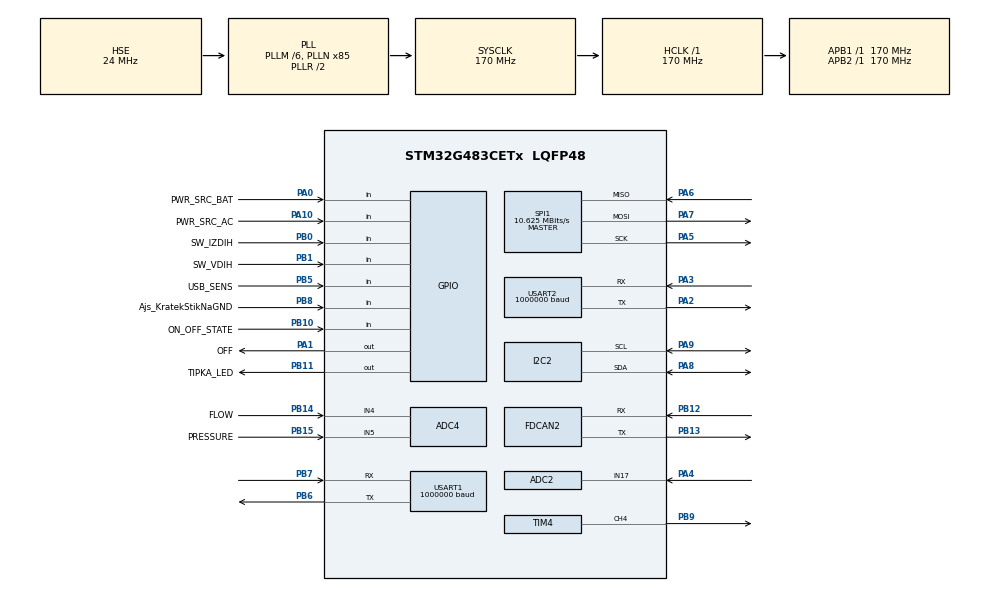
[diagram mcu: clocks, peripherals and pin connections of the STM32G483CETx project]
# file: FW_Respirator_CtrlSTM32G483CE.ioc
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ADC2.Channel-0\#ChannelRegularConversion=ADC_CHANNEL_17
ADC2.ExternalTrigConv=ADC_EXTERNALTRIG_T3_TRGO
ADC2.NbrOfConversion=1
ADC2.NbrOfConversionFlag=1
ADC2.OffsetNumber-0\#ChannelRegularConversion=ADC_OFFSET_NONE
ADC2.Overrun=ADC_OVR_DATA_OVERWRITTEN
ADC2.OversamplingMode=ENABLE
ADC2.Rank-0\#ChannelRegularConversion=1
ADC2.Ratio=ADC_OVERSAMPLING_RATIO_32
ADC2.RightBitShift=ADC_RIGHTBITSHIFT_1
ADC2.SamplingTime-0\#ChannelRegularConversion=ADC_SAMPLETIME_2CYCLES_5
ADC4.Channel-0\#ChannelRegularConversion=ADC_CHANNEL_4
ADC4.Channel-1\#ChannelRegularConversion=ADC_CHANNEL_5
ADC4.ClockPrescaler=ADC_CLOCK_SYNC_PCLK_DIV4
ADC4.ExternalTrigConv=ADC_EXTERNALTRIG_T3_TRGO
ADC4.NbrOfConversion=2
ADC4.NbrOfConversionFlag=1
ADC4.OffsetNumber-0\#ChannelRegularConversion=ADC_OFFSET_NONE
ADC4.OffsetNumber-1\#ChannelRegularConversion=ADC_OFFSET_NONE
ADC4.Overrun=ADC_OVR_DATA_OVERWRITTEN
ADC4.OversamplingMode=ENABLE
ADC4.Rank-0\#ChannelRegularConversion=1
ADC4.Rank-1\#ChannelRegularConversion=2
ADC4.Ratio=ADC_OVERSAMPLING_RATIO_32
ADC4.RightBitShift=ADC_RIGHTBITSHIFT_1
ADC4.SamplingTime-0\#ChannelRegularConversion=ADC_SAMPLETIME_2CYCLES_5
ADC4.SamplingTime-1\#ChannelRegularConversion=ADC_SAMPLETIME_2CYCLES_5
FDCAN2.DataPrescaler=17
FDCAN2.DataTimeSeg1=10
FDCAN2.DataTimeSeg2=9
FDCAN2.FrameFormat=FDCAN_FRAME_CLASSIC
FDCAN2.NominalPrescaler=17
FDCAN2.NominalTimeSeg1=10
FDCAN2.NominalTimeSeg2=9
FDCAN2.StdFiltersNbr=1
I2C2.Timing=0x30A0A7FB
Mcu.Family=STM32G4
Mcu.Name=STM32G483CETx
Mcu.Package=LQFP48
NVIC.ADC1_2_IRQn=true\:0\:0\:false\:false\:true\:true\:true
NVIC.ADC4_IRQn=true\:0\:0\:false\:false\:true\:true\:true
NVIC.FDCAN2_IT0_IRQn=true\:0\:0\:false\:false\:true\:true\:true
NVIC.PriorityGroup=NVIC_PRIORITYGROUP_4
NVIC.USART1_IRQn=true\:0\:0\:false\:false\:true\:true\:false
NVIC.USART2_IRQn=true\:0\:0\:false\:false\:true\:true\:false
PA0.GPIO_Label=PWR_SRC_BAT
PA0.Signal=GPIO_Input
PA1.GPIO_Label=OFF
PA1.GPIO_ModeDefaultOutputPP=GPIO_MODE_OUTPUT_OD
PA1.Signal=GPIO_Output
PA10.GPIO_Label=PWR_SRC_AC
PA10.Signal=GPIO_Input
PA13.Mode=JTAG_5_pins
PA13.Signal=SYS_JTMS-SWDIO
PA14.Mode=JTAG_5_pins
PA14.Signal=SYS_JTCK-SWCLK
PA15.Mode=JTAG_5_pins
PA15.Signal=SYS_JTDI
PA2.Mode=Asynchronous
PA2.Signal=USART2_TX
PA3.Mode=Asynchronous
PA3.Signal=USART2_RX
PA4.Mode=IN17-Single-Ended
PA4.Signal=ADC2_IN17
PA5.Mode=Full_Duplex_Master
PA5.Signal=SPI1_SCK
PA6.Mode=Full_Duplex_Master
PA6.Signal=SPI1_MISO
PA7.Mode=Full_Duplex_Master
PA7.Signal=SPI1_MOSI
PA8.GPIO_Pu=GPIO_PULLUP
PA8.Mode=I2C
PA8.Signal=I2C2_SDA
PA9.GPIO_Pu=GPIO_PULLUP
PA9.Mode=I2C
PA9.Signal=I2C2_SCL
PB0.GPIO_Label=SW_IZDIH
PB0.GPIO_PuPd=GPIO_PULLUP
PB0.Signal=GPIO_Input
PB1.GPIO_Label=SW_VDIH
PB1.GPIO_PuPd=GPIO_PULLUP
PB1.Signal=GPIO_Input
PB10.GPIO_Label=ON_OFF_STATE
PB10.Signal=GPIO_Input
PB11.GPIO_Label=TIPKA_LED
PB11.PinState=GPIO_PIN_SET
PB11.Signal=GPIO_Output
PB12.Mode=FDCAN_Activate
PB12.Signal=FDCAN2_RX
PB13.Mode=FDCAN_Activate
PB13.Signal=FDCAN2_TX
PB14.GPIO_Label=FLOW
PB14.Mode=IN4-Single-Ended
PB14.Signal=ADC4_IN4
PB15.GPIO_Label=PRESSURE
PB15.Mode=IN5-Single-Ended
PB15.Signal=ADC4_IN5
PB3.Mode=JTAG_5_pins
PB3.Signal=SYS_JTDO-SWO
PB4.Mode=JTAG_5_pins
PB4.Signal=SYS_JTRST
PB5.GPIO_Label=USB_SENS
PB5.Signal=GPIO_Input
PB6.Mode=Asynchronous
PB6.Signal=USART1_TX
PB7.Mode=Asynchronous
PB7.Signal=USART1_RX
PB8-BOOT0.GPIO_Label=Ajs_KratekStikNaGND
PB8-BOOT0.Signal=GPIO_Input
PB9.Signal=S_TIM4_CH4
PF0-OSC_IN.Mode=HSE-External-Oscillator
PF0-OSC_IN.Signal=RCC_OSC_IN
PF1-OSC_OUT.Mode=HSE-External-Oscillator
PF1-OSC_OUT.Signal=RCC_OSC_OUT
ProjectManager.HeapSize=0x200
ProjectManager.StackSize=0x400
ProjectManager.TargetToolchain=STM32CubeIDE
RCC.ADC12Freq_Value=170000000
RCC.ADC345Freq_Value=170000000
RCC.AHBFreq_Value=170000000
RCC.APB1Freq_Value=170000000
RCC.APB1TimFreq_Value=170000000
RCC.APB2Freq_Value=170000000
RCC.APB2TimFreq_Value=170000000
RCC.CK48CLockSelection=RCC_USBCLKSOURCE_HSI48
RCC.CortexFreq_Value=170000000
RCC.EXTERNAL_CLOCK_VALUE=12288000
RCC.HCLKFreq_Value=170000000
RCC.HSE_VALUE=24000000
RCC.HSI48_VALUE=48000000
RCC.HSI_VALUE=16000000
RCC.LSE_VALUE=32768
RCC.PLLM=RCC_PLLM_DIV6
RCC.PLLN=85
RCC.PLLSourceVirtual=RCC_PLLSOURCE_HSE
RCC.SYSCLKFreq_VALUE=170000000
RCC.SYSCLKSource=RCC_SYSCLKSOURCE_PLLCLK
RCC.USBFreq_Value=48000000
RCC.VCOOutputFreq_Value=340000000
SH.S_TIM4_CH4.0=TIM4_CH4,PWM Generation4 CH4
SPI1.BaudRatePrescaler=SPI_BAUDRATEPRESCALER_16
SPI1.CalculateBaudRate=10.625 MBits/s
SPI1.Direction=SPI_DIRECTION_2LINES
SPI1.Mode=SPI_MODE_MASTER
SPI1.VirtualType=VM_MASTER
TIM3.PeriodNoDither=9999
TIM3.Prescaler=169
TIM3.TIM_MasterOutputTrigger=TIM_TRGO_UPDATE
TIM4.Channel-PWM\ Generation4\ CH4=TIM_CHANNEL_4
TIM4.PeriodNoDither=999
TIM4.Prescaler=169
TIM4.PulseNoDither_4=499
USART1.BaudRate=1000000
USART1.VirtualMode-Asynchronous=VM_ASYNC
USART2.BaudRate=1000000
USART2.DMADisableonRxErrorParam=ADVFEATURE_DMA_DISABLEONRXERROR
USART2.OverrunDisableParam=ADVFEATURE_OVERRUN_DISABLE
USART2.VirtualMode-Asynchronous=VM_ASYNC
VP_SYS_VS_DBSignals.Mode=DisableDeadBatterySignals
VP_TIM3_VS_ClockSourceINT.Mode=Internal
VP_TIM4_VS_ClockSourceINT.Mode=Internal
board=custom

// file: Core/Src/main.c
/* USER CODE BEGIN Header */
/**
  ******************************************************************************
  * @file           : main.c
  * @brief          : Main program body
  ******************************************************************************
  * @attention
  *
  * <h2><center>&copy; Copyright (c) 2021 STMicroelectronics.
  * All rights reserved.</center></h2>
  *
  * This software component is licensed by ST under BSD 3-Clause license,
  * the "License"; You may not use this file except in compliance with the
  * License. You may obtain a copy of the License at:
  *                        opensource.org/licenses/BSD-3-Clause
  *
  ******************************************************************************
  */
/* USER CODE END Header */
#include "main.h"
#include "adc.h"
#include "fdcan.h"
#include "i2c.h"
#include "spi.h"
#include "tim.h"
#include "usart.h"
#include "gpio.h"

/* USER CODE BEGIN Includes */
#include "PID.h"
#include "CommonDefinitions.h"
#include "PowerStatus.h"
#include "motor.h"
#include "Measure.h"
#include "ActuatorControl.h"
#include "CommProtocol.h"
#include "modeSTOP.h"
#include "modeCMV.h"
//#include "modeCMVmpc.h"
#include "modePCV.h"
#include "modePS.h"
#include "modeHWtest.h"
#include <math.h>
/* USER CODE END Includes */

void SystemClock_Config(void);

/* USER CODE BEGIN 0 */
//Global only for debugging purposes move back to main when done
RespSettings_t  Settings;
MeasuredParams_t Measured;
CtrlParams_t Control;

int indikator = 0; //uporabljeno za preverjanje delovanja

fpidData_t PIDdata;
//mpcData_t MPCdata;
ControlData_t ControlData =
{
	&PIDdata,
	//&MPCdata
};

int _write(int file, char *ptr, int len)
{
  HAL_UART_Transmit_IT(&huart1, (uint8_t*)ptr, len);
  return len;
}

void dummy()
{

}
/* USER CODE END 0 */

int main(void)
{
  /* USER CODE BEGIN 1 */
#define MSG_SETTINGS_REPLY_LENGTH 200

	  char msg[MSG_SETTINGS_REPLY_LENGTH];
	  int length;
	  char com_data;
	  uint32_t mark2=0;
	  uint32_t mark1ms=0;
	  uint8_t newSettingsReceived;
	  ErrCodes_t err;
	  ProcMsgState_t PMSuart2 = {0};
	  ProcMsgState_t PMSuart1 = {0};

	  /*
	  RespSettings_t	Settings;
	  MeasuredParams_t Measured;
	  CtrlParams_t Control;
	  fpidData_t PIDdata;	//Same PID params if regulating P or V ? Probably not.
						  //Maybe make PID params local to ActuatorControl?
*/
	  //setvbuf(stdout, NULL, _IONBF, 0);
	  ErrQueue_Init(&DefaultErrorQueue);
	  memset(&Settings,0,sizeof(RespSettings_t));
	  memset(&Measured,0,sizeof(MeasuredParams_t));
	  memset(&Control,0,sizeof(CtrlParams_t));
	  memset(&PIDdata,0,sizeof(fpidData_t));
	  //memset(&MPCdata,0,sizeof(mpcData_t));

	  //V konÄ?ni verziji se to prebere iz eeproma,
	  //da takoj nadaljujemo od koder smo konÄ?ali,
	  //Ä?e se sluÄ?ajno pobiramo iz nenamernega reseta
	  Settings.current_mode=MODE_STOP;
	  Settings.new_mode=MODE_DEFAULT;
    Settings.trigger_pressure=SETTINGS_DEFAULT_INSP_TRIGGER;
    Settings.target_Pramp_time=SETTINGS_DEFAULT_RAMPUP_TIME_MS;
	  Settings.target_inspiria_time=SETTINGS_DEFAULT_INHALE_TIME_MS;
    Settings.target_expiria_time=SETTINGS_DEFAULT_EXHALE_TIME_MS;
    Settings.limit_apnea_time_max=SETTINGS_DEFAULT_APNEA_LIMIT_TIME_MS;
	  Settings.target_tidal_volume=SETTINGS_DEFAULT_TARGET_VOLUME_ML;
	  Settings.PEEP = SETTINGS_DEFAULT_PEEP;
	  Settings.limit_PeakInspPressure = SETTINGS_DEFAULT_MAX_PRESSURE_MBAR;
    Settings.target_pressure = SETTINGS_DEFAULT_TARGET_PRESSURE_MBAR;
    Settings.target_motor_speed = SETTINGS_DEFAULT_TARGET_MOTOR_SPEED;
    Settings.limit_tidal_volume_min = SETTINGS_DEFAULT_LIMIT_TIDAL_VOLUME_MIN;
    Settings.limit_tidal_volume_max = SETTINGS_DEFAULT_LIMIT_TIDAL_VOLUME_MAX;
    Settings.limit_minute_volume_min = SETTINGS_DEFAULT_MINUTE_VOLUME_MIN;
    Settings.limit_minute_volume_max = SETTINGS_DEFAULT_MINUTE_VOLUME_MAX;
    Settings.limit_breath_rate_min = SETTINGS_DEFAULT_BREATH_RATE_MIN;
    Settings.limit_breath_rate_max = SETTINGS_DEFAULT_BREATH_RATE_MAX;
    Settings.limit_InspPressure_min = SETTINGS_DEFAULT_MIN_INSP_PRESSURE;
    Settings.ETS = SETTINGS_DEFAULT_ETS;

    Settings.PID_Pressure.P_Factor = SETTINGS_DEFAULT_PRESSURE_PID_P;
    Settings.PID_Pressure.I_Factor = SETTINGS_DEFAULT_PRESSURE_PID_I;
    Settings.PID_Pressure.D_Factor = SETTINGS_DEFAULT_PRESSURE_PID_D;
    Settings.PID_Pressure.maxError = SETTINGS_DEFAULT_PRESSURE_PID_MAXERR;
    Settings.PID_Pressure.maxSumError = SETTINGS_DEFAULT_PRESSURE_PID_MAXSUMERR;
    Settings.PID_Pressure.maxOut = SETTINGS_DEFAULT_PRESSURE_PID_MAXOUT;
    Settings.PID_Pressure.minOut = SETTINGS_DEFAULT_PRESSURE_PID_MINOUT;

    Settings.PID_Flow.P_Factor = SETTINGS_DEFAULT_FLOW_PID_P;
    Settings.PID_Flow.I_Factor = SETTINGS_DEFAULT_FLOW_PID_I;
    Settings.PID_Flow.D_Factor = SETTINGS_DEFAULT_FLOW_PID_D;
    Settings.PID_Flow.maxError = SETTINGS_DEFAULT_FLOW_PID_MAXERR;
    Settings.PID_Flow.maxSumError = SETTINGS_DEFAULT_FLOW_PID_MAXSUMERR;
    Settings.PID_Flow.maxOut = SETTINGS_DEFAULT_FLOW_PID_MAXOUT;
    Settings.PID_Flow.minOut = SETTINGS_DEFAULT_FLOW_PID_MINOUT;

    Settings.PID_Volume.P_Factor = SETTINGS_DEFAULT_VOLUME_PID_P;
    Settings.PID_Volume.I_Factor = SETTINGS_DEFAULT_VOLUME_PID_I;
    Settings.PID_Volume.D_Factor = SETTINGS_DEFAULT_VOLUME_PID_D;
    Settings.PID_Volume.maxError = SETTINGS_DEFAULT_VOLUME_PID_MAXERR;
    Settings.PID_Volume.maxSumError = SETTINGS_DEFAULT_VOLUME_PID_MAXSUMERR;
    Settings.PID_Volume.maxOut = SETTINGS_DEFAULT_VOLUME_PID_MAXOUT;
    Settings.PID_Volume.minOut = SETTINGS_DEFAULT_VOLUME_PID_MINOUT;

    Settings.MPC_Volume.modelT=SETTINGS_DEFAULT_VOLUME_MPC_modelT;
	Settings.MPC_Volume.Amat=SETTINGS_DEFAULT_VOLUME_MPC_Amat;
	Settings.MPC_Volume.Bmat=SETTINGS_DEFAULT_VOLUME_MPC_Bmat;
	Settings.MPC_Volume.Cmat=SETTINGS_DEFAULT_VOLUME_MPC_Cmat;
	Settings.MPC_Volume.modelTm=SETTINGS_DEFAULT_VOLUME_MPC_modelTm;
	Settings.MPC_Volume.Hmpc=SETTINGS_DEFAULT_VOLUME_MPC_Hmpc;
	Settings.MPC_Volume.maxError=SETTINGS_DEFAULT_VOLUME_MPC_maxError;

	  //TODO: read current state of the machine
	  //Is it possible the get the exact state?
	  //Direction (Inspiration/Expiration), Position
	  //duration of the break (maybe ms resolution RTC)?
	  //maybe also external RAM with backup battery? Or FRAM?

  /* USER CODE END 1 */

  /* MCU Configuration--------------------------------------------------------*/

  /* Reset of all peripherals, Initializes the Flash interface and the Systick. */
  HAL_Init();

  /* Configure the system clock */
  SystemClock_Config();

  /* Initialize all configured peripherals */
  MX_GPIO_Init();
  MX_ADC2_Init();
  MX_ADC4_Init();
  MX_FDCAN2_Init();
  MX_I2C2_Init();
  MX_SPI1_Init();
  MX_TIM3_Init();
  MX_TIM4_Init();
  MX_USART1_UART_Init();
  MX_USART2_UART_Init();
  /* USER CODE BEGIN 2 */
    HAL_ADCEx_Calibration_Start(&hadc2, ADC_SINGLE_ENDED);
    HAL_ADCEx_Calibration_Start(&hadc4, ADC_SINGLE_ENDED);
    Ringbuf2_Init();
    Ringbuf1_Init();
    HAL_TIM_Base_Start(&htim3);
    HAL_TIM_Base_Start(&htim4);

    HAL_ADC_Start_IT(&hadc2);
    HAL_ADC_Start_IT(&hadc4);
    MeasureInit();
    BUZZ_Off();
    CAN_XCP_CLEAR();
    HAL_Delay(500);
    motor_Init();
#warning "izgleda, kot da so postavljene zastavice za prejeto sporocilo, ker takoj po aktivaciji IT skoci v prekinitev"

#ifdef TESTING //zakomentiraj v CommonDefinitions.h
    float test_trq = 0.0;
    //trq = 0.1;
    //uint8_t fdcanTxData[8]={0,0,0,0,0,0,0,0};
    //fdcanTxData[0] = 0xFF;
    //fdcanTxData[3] = 0x42;
    while(1)
    {
    	//write_trq();
    	//HAL_FDCAN_AddMessageToTxFifoQ(&hfdcan2, &hfdcan2_TxHeader, fdcanTxData);
    	//uint32_t time1 = HAL_GetTick();
    	//motor_SetPower(0);
    	//CAN_XCP_write(RequestedTorque, 0 , 4 , (char *)&test_trq );
    	/*uint32_t time2 = HAL_GetTick();
    	CAN_XCP_write(RequestedTorque, 0 , 4 , (char *)&test_trq );
    	uint32_t time3 = HAL_GetTick();
    	CAN_XCP_write(RequestedTorque, 0 , 4 , (char *)&test_trq );
    	uint32_t time4 = HAL_GetTick();
    	CAN_XCP_write(RequestedTorque, 0 , 4 , (char *)&test_trq );
    	uint32_t time5 = HAL_GetTick();
    	CAN_XCP_write(RequestedTorque, 0 , 4 , (char *)&test_trq );
    	uint32_t time6 = HAL_GetTick();
    	//HAL_Delay(1000);*/
    }
#endif

  /* USER CODE END 2 */

  /* Infinite loop */
  /* USER CODE BEGIN WHILE */

    while(1)
    {
      //Check power status every ms, regardless of everything else
      //At least some error checking should also be done here
      if (HAL_GetTick() != mark1ms)
      {
        mark1ms=HAL_GetTick();
        DetectPowerStatus();
      }

#warning "takt programa je nastavljen na 10 ms"

      if (ADC_scan_complete())
      {
        //LED1_On();
        // branje ADC:
        MeasureFlow(&Measured);
        MeasurePressure(&Measured);
        MeasureVolume(&Measured);

        TurnOff();

        // preverja delovanje s priziganjem pina za led na tipki, zakomentiranj kasneje
/*
        uint8_t fdcanTxData[8]={0,0,0,0,0,0,0,0};
        fdcanTxData[0] = 0xFF;
        fdcanTxData[3] = 0x42;

        indikator++;

        if(indikator == 50)
        {
        	HAL_GPIO_WritePin(TIPKA_LED_GPIO_Port, TIPKA_LED_Pin, GPIO_PIN_SET);
        	HAL_FDCAN_AddMessageToTxFifoQ(&hfdcan2, &hfdcan2_TxHeader, fdcanTxData);
        }
        else if(indikator==100)
        {
        	HAL_GPIO_WritePin(TIPKA_LED_GPIO_Port, TIPKA_LED_Pin, GPIO_PIN_RESET);
        	indikator=0;
        }

*/

        //TODO: mode state machines must return HW independent control values
        switch (Settings.current_mode)
        {
          case MODE_STOP:
            modeSTOP(&Settings, &Measured, &Control);
            //ActuatorControl(&Settings,&Measured,&Control,&ControlData);
            break;

          case MODE_CMV:
//            modeCMVmpc(&Settings, &Measured, &Control);
            modeCMV(&Settings, &Measured, &Control);
            ActuatorControl(&Settings,&Measured,&Control,&ControlData);
            break;

          case MODE_PCV:
            modePCV(&Settings, &Measured, &Control);
            ActuatorControl(&Settings,&Measured,&Control,&ControlData);
            break;

          case MODE_PS:
            modePS(&Settings, &Measured, &Control);
            ActuatorControl(&Settings,&Measured,&Control,&ControlData);
            break;

          case MODE_HW_TEST:
            modeHWtest(&Settings, &Measured, &Control);
            ActuatorControl(&Settings,&Measured,&Control,&ControlData);
            break;

          default:
            ReportError(ModeUnknownMode,FSH("Unknown operation mode"));
            Settings.current_mode = MODE_DEFAULT;
            break;
        }
        //ActuatorControl(&Control,&Measured,&Settings,&PIDdata);
        //LED1_Off();
        //koda traja xy us (140 us before hardware abstraction was implemented)
        ErrorBuzzer();
      }

      // na 2 ms

      //Report Status to the GUI
      //    if (Has_X_MillisecondsPassed(STATUS_REPORTING_PERIOD,&mark2))
      if (Control.ReportReady & (1<<CTR_REPRDY_INSP))
      {
        Control.ReportReady &= ~(1<<CTR_REPRDY_INSP);
        length=PrepareMetricsMessage(msg, MSG_SETTINGS_REPLY_LENGTH, &Metrics);
        UART2_SendBytes(msg,length);
        UART1_SendBytes(msg,length);
      }
      if (Control.ReportReady & (1<<CTR_REPRDY_EXP))
      {
        Control.ReportReady &= ~(1<<CTR_REPRDY_EXP);
        length=PrepareMetricsMessage(msg, MSG_SETTINGS_REPLY_LENGTH, &Metrics);
        UART2_SendBytes(msg,length);
        UART1_SendBytes(msg,length);
       /* length=PrepareStatisticsMessage(msg, MSG_SETTINGS_REPLY_LENGTH, &Statistics);
        UART0_SendBytes(msg,length);
        UART1_SendBytes(msg,length);*/
      }

      if (HAL_GetTick()-mark2 >= STATUS_REPORTING_PERIOD)
      {

        ErrQueue_GetErr(&err,&DefaultErrorQueue);
        mark2+=STATUS_REPORTING_PERIOD;

        length=PrepareStatusMessage(mark1ms,
             (int16_t)(Measured.flow*100.0), (int16_t)(Measured.pressure*100.0),
             (int16_t)(Measured.volume_t*10.0), (int16_t)motor_GetPosition(),
             (uint16_t)motor_GetCurrent(), (uint16_t) ceil(motor_GetPower()), Control.BreathCounter,
             Control.status, err, Control.target_volume, msg);
        UART2_SendBytes(msg,length);
        UART1_SendBytes(msg,length);
      }

      //Listen for commands
      if(UART2_DataReady())	//process received data 1 byte per loop
      {
  	    UART2_GetByte(&com_data);
  	    ProcessMessages(com_data, &Settings, &PMSuart2, &newSettingsReceived);
      }
      if (newSettingsReceived)
      {
  	    newSettingsReceived = 0;
  	    length=ReportAllCurrentSettings(msg,MSG_SETTINGS_REPLY_LENGTH,&Settings);
  	    if (length > 0)
  	    {
          UART2_SendBytes(msg,length);
          UART1_SendBytes(msg,length);
  	    }
      }

      //Listen for commands
      if(UART1_DataReady()) //process received data 1 byte per loop
      {
        UART1_GetByte(&com_data);
        ProcessMessages(com_data, &Settings, &PMSuart1, &newSettingsReceived);
      }
      if (newSettingsReceived)
      {
        newSettingsReceived = 0;
        length=ReportAllCurrentSettings(msg,MSG_SETTINGS_REPLY_LENGTH,&Settings);
        if (length > 0)
        {
          UART2_SendBytes(msg,length);
          UART1_SendBytes(msg,length);
        }
      }

    /* USER CODE END WHILE */

  }
}

void SystemClock_Config(void)
{
  RCC_OscInitTypeDef RCC_OscInitStruct = {0};
  RCC_ClkInitTypeDef RCC_ClkInitStruct = {0};
  RCC_PeriphCLKInitTypeDef PeriphClkInit = {0};

  /** Configure the main internal regulator output voltage
  */
  HAL_PWREx_ControlVoltageScaling(PWR_REGULATOR_VOLTAGE_SCALE1_BOOST);
  /** Initializes the RCC Oscillators according to the specified parameters
  * in the RCC_OscInitTypeDef structure.
  */
  RCC_OscInitStruct.OscillatorType = RCC_OSCILLATORTYPE_HSE;
  RCC_OscInitStruct.HSEState = RCC_HSE_ON;
  RCC_OscInitStruct.PLL.PLLState = RCC_PLL_ON;
  RCC_OscInitStruct.PLL.PLLSource = RCC_PLLSOURCE_HSE;
  RCC_OscInitStruct.PLL.PLLM = RCC_PLLM_DIV6;
  RCC_OscInitStruct.PLL.PLLN = 85;
  RCC_OscInitStruct.PLL.PLLP = RCC_PLLP_DIV2;
  RCC_OscInitStruct.PLL.PLLQ = RCC_PLLQ_DIV2;
  RCC_OscInitStruct.PLL.PLLR = RCC_PLLR_DIV2;
  if (HAL_RCC_OscConfig(&RCC_OscInitStruct) != HAL_OK)
  {
    Error_Handler();
  }
  /** Initializes the CPU, AHB and APB buses clocks
  */
  RCC_ClkInitStruct.ClockType = RCC_CLOCKTYPE_HCLK|RCC_CLOCKTYPE_SYSCLK
                              |RCC_CLOCKTYPE_PCLK1|RCC_CLOCKTYPE_PCLK2;
  RCC_ClkInitStruct.SYSCLKSource = RCC_SYSCLKSOURCE_PLLCLK;
  RCC_ClkInitStruct.AHBCLKDivider = RCC_SYSCLK_DIV1;
  RCC_ClkInitStruct.APB1CLKDivider = RCC_HCLK_DIV1;
  RCC_ClkInitStruct.APB2CLKDivider = RCC_HCLK_DIV1;

  if (HAL_RCC_ClockConfig(&RCC_ClkInitStruct, FLASH_LATENCY_4) != HAL_OK)
  {
    Error_Handler();
  }
  /** Initializes the peripherals clocks
  */
  PeriphClkInit.PeriphClockSelection = RCC_PERIPHCLK_USART1|RCC_PERIPHCLK_USART2
                              |RCC_PERIPHCLK_I2C2|RCC_PERIPHCLK_ADC12
                              |RCC_PERIPHCLK_ADC345|RCC_PERIPHCLK_FDCAN;
  PeriphClkInit.Usart1ClockSelection = RCC_USART1CLKSOURCE_PCLK2;
  PeriphClkInit.Usart2ClockSelection = RCC_USART2CLKSOURCE_PCLK1;
  PeriphClkInit.I2c2ClockSelection = RCC_I2C2CLKSOURCE_PCLK1;
  PeriphClkInit.FdcanClockSelection = RCC_FDCANCLKSOURCE_PCLK1;
  PeriphClkInit.Adc12ClockSelection = RCC_ADC12CLKSOURCE_SYSCLK;
  PeriphClkInit.Adc345ClockSelection = RCC_ADC345CLKSOURCE_SYSCLK;
  if (HAL_RCCEx_PeriphCLKConfig(&PeriphClkInit) != HAL_OK)
  {
    Error_Handler();
  }
}

void Error_Handler(void)
{
  __disable_irq();
  while (1)
  {
  }
}

/************************ (C) COPYRIGHT STMicroelectronics *****END OF FILE****/
